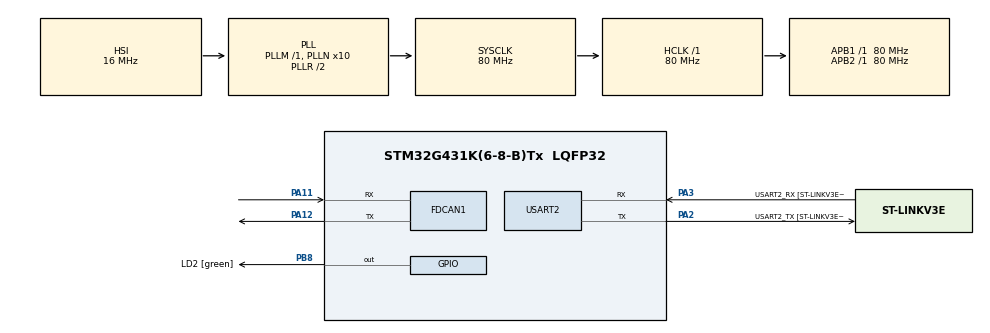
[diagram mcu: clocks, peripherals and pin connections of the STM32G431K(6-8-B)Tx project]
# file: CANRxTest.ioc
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FDCAN1.CalculateBaudRateNominal=1000000
FDCAN1.CalculateTimeBitNominal=1000
FDCAN1.CalculateTimeQuantumNominal=62.5
FDCAN1.DataPrescaler=1
FDCAN1.DataSyncJumpWidth=4
FDCAN1.DataTimeSeg1=5
FDCAN1.DataTimeSeg2=4
FDCAN1.NominalPrescaler=5
FDCAN1.NominalSyncJumpWidth=16
FDCAN1.NominalTimeSeg1=13
FDCAN1.StdFiltersNbr=1
Mcu.Family=STM32G4
Mcu.Name=STM32G431K(6-8-B)Tx
Mcu.Package=LQFP32
NVIC.FDCAN1_IT0_IRQn=true\:0\:0\:false\:false\:true\:true\:true\:true
NVIC.FDCAN1_IT1_IRQn=true\:0\:0\:false\:false\:true\:true\:true\:true
NVIC.PriorityGroup=NVIC_PRIORITYGROUP_4
PA11.Mode=FDCAN_Activate
PA11.Signal=FDCAN1_RX
PA12.Mode=FDCAN_Activate
PA12.Signal=FDCAN1_TX
PA13.GPIO_Label=T_SWDIO
PA13.Mode=Serial_Wire
PA13.Signal=SYS_JTMS-SWDIO
PA14.GPIO_Label=T_SWCLK
PA14.Mode=Serial_Wire
PA14.Signal=SYS_JTCK-SWCLK
PA2.GPIO_Label=USART2_TX [ST-LINKV3E_VCP_RX]
PA2.Mode=Asynchronous
PA2.Signal=USART2_TX
PA3.GPIO_Label=USART2_RX [ST-LINKV3E_VCP_TX]
PA3.Mode=Asynchronous
PA3.Signal=USART2_RX
PB3.GPIO_Label=T_SWO
PB3.Signal=SYS_JTDO-SWO
PB8-BOOT0.GPIO_Label=LD2 [green]
PB8-BOOT0.Signal=GPIO_Output
ProjectManager.HeapSize=0x200
ProjectManager.StackSize=0x400
ProjectManager.TargetToolchain=STM32CubeIDE
RCC.ADC12Freq_Value=80000000
RCC.AHBFreq_Value=80000000
RCC.APB1Freq_Value=80000000
RCC.APB1TimFreq_Value=80000000
RCC.APB2Freq_Value=80000000
RCC.APB2TimFreq_Value=80000000
RCC.CortexFreq_Value=80000000
RCC.EXTERNAL_CLOCK_VALUE=12288000
RCC.HCLKFreq_Value=80000000
RCC.HSE_VALUE=8000000
RCC.HSI48_VALUE=48000000
RCC.HSI_VALUE=16000000
RCC.LSE_VALUE=32768
RCC.PLLN=10
RCC.SYSCLKFreq_VALUE=80000000
RCC.SYSCLKSource=RCC_SYSCLKSOURCE_PLLCLK
RCC.USBFreq_Value=80000000
RCC.VCOOutputFreq_Value=160000000
USART2.VirtualMode-Asynchronous=VM_ASYNC
USART2.WordLength=WORDLENGTH_8B
board=NUCLEO-G431KB

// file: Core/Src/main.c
/* USER CODE BEGIN Header */
/**
  ******************************************************************************
  * @file           : main.c
  * @brief          : Main program body
  ******************************************************************************
  * @attention
  *
  * Copyright (c) 2023 STMicroelectronics.
  * All rights reserved.
  *
  * This software is licensed under terms that can be found in the LICENSE file
  * in the root directory of this software component.
  * If no LICENSE file comes with this software, it is provided AS-IS.
  *
  ******************************************************************************
  */
/* USER CODE END Header */
#include "main.h"

FDCAN_HandleTypeDef hfdcan1;

UART_HandleTypeDef huart2;

void SystemClock_Config(void);
static void MX_GPIO_Init(void);
static void MX_USART2_UART_Init(void);
static void MX_FDCAN1_Init(void);

int main(void)
{

  /* MCU Configuration--------------------------------------------------------*/

  /* Reset of all peripherals, Initializes the Flash interface and the Systick. */
  HAL_Init();

  /* Configure the system clock */
  SystemClock_Config();

  /* Initialize all configured peripherals */
  MX_GPIO_Init();
  MX_USART2_UART_Init();
  MX_FDCAN1_Init();
  /* USER CODE BEGIN 2 */
  FDCAN_TxHeaderTypeDef TxHeader;
  uint8_t TxData[8] = {0x3F,0x3F,0x3F,0x3F,0x3F,0x3F,0x3F,0x3F};

  TxHeader.IdType = FDCAN_STANDARD_ID;
  TxHeader.TxFrameType = FDCAN_DATA_FRAME;
  TxHeader.DataLength = FDCAN_DLC_BYTES_8;
  TxHeader.ErrorStateIndicator = FDCAN_ESI_ACTIVE;
  TxHeader.BitRateSwitch = FDCAN_BRS_OFF;
  TxHeader.FDFormat = FDCAN_CLASSIC_CAN;
  TxHeader.TxEventFifoControl = FDCAN_NO_TX_EVENTS;
  TxHeader.MessageMarker = 0;
  TxHeader.Identifier = 0x200;
  if (HAL_FDCAN_Start(&hfdcan1) != HAL_OK) {
	  Error_Handler();
  }
  /* USER CODE END 2 */

  /* Infinite loop */
  while (1)
  {

    /* USER CODE BEGIN 3 */
	  if (HAL_FDCAN_AddMessageToTxFifoQ(&hfdcan1, &TxHeader, TxData) != HAL_OK) {
	        /* Transmission request Error */
		Error_Handler();
	  }
	  HAL_Delay(100);
  }
  /* USER CODE END 3 */
}

void SystemClock_Config(void)
{
  RCC_OscInitTypeDef RCC_OscInitStruct = {0};
  RCC_ClkInitTypeDef RCC_ClkInitStruct = {0};

  /** Configure the main internal regulator output voltage
  */
  HAL_PWREx_ControlVoltageScaling(PWR_REGULATOR_VOLTAGE_SCALE1);

  /** Initializes the RCC Oscillators according to the specified parameters
  * in the RCC_OscInitTypeDef structure.
  */
  RCC_OscInitStruct.OscillatorType = RCC_OSCILLATORTYPE_HSI;
  RCC_OscInitStruct.HSIState = RCC_HSI_ON;
  RCC_OscInitStruct.HSICalibrationValue = RCC_HSICALIBRATION_DEFAULT;
  RCC_OscInitStruct.PLL.PLLState = RCC_PLL_ON;
  RCC_OscInitStruct.PLL.PLLSource = RCC_PLLSOURCE_HSI;
  RCC_OscInitStruct.PLL.PLLM = RCC_PLLM_DIV1;
  RCC_OscInitStruct.PLL.PLLN = 10;
  RCC_OscInitStruct.PLL.PLLP = RCC_PLLP_DIV2;
  RCC_OscInitStruct.PLL.PLLQ = RCC_PLLQ_DIV2;
  RCC_OscInitStruct.PLL.PLLR = RCC_PLLR_DIV2;
  if (HAL_RCC_OscConfig(&RCC_OscInitStruct) != HAL_OK)
  {
    Error_Handler();
  }

  /** Initializes the CPU, AHB and APB buses clocks
  */
  RCC_ClkInitStruct.ClockType = RCC_CLOCKTYPE_HCLK|RCC_CLOCKTYPE_SYSCLK
                              |RCC_CLOCKTYPE_PCLK1|RCC_CLOCKTYPE_PCLK2;
  RCC_ClkInitStruct.SYSCLKSource = RCC_SYSCLKSOURCE_PLLCLK;
  RCC_ClkInitStruct.AHBCLKDivider = RCC_SYSCLK_DIV1;
  RCC_ClkInitStruct.APB1CLKDivider = RCC_HCLK_DIV1;
  RCC_ClkInitStruct.APB2CLKDivider = RCC_HCLK_DIV1;

  if (HAL_RCC_ClockConfig(&RCC_ClkInitStruct, FLASH_LATENCY_2) != HAL_OK)
  {
    Error_Handler();
  }
}

static void MX_FDCAN1_Init(void)
{

  hfdcan1.Instance = FDCAN1;
  hfdcan1.Init.ClockDivider = FDCAN_CLOCK_DIV1;
  hfdcan1.Init.FrameFormat = FDCAN_FRAME_CLASSIC;
  hfdcan1.Init.Mode = FDCAN_MODE_NORMAL;
  hfdcan1.Init.AutoRetransmission = DISABLE;
  hfdcan1.Init.TransmitPause = DISABLE;
  hfdcan1.Init.ProtocolException = DISABLE;
  hfdcan1.Init.NominalPrescaler = 5;
  hfdcan1.Init.NominalSyncJumpWidth = 16;
  hfdcan1.Init.NominalTimeSeg1 = 13;
  hfdcan1.Init.NominalTimeSeg2 = 2;
  hfdcan1.Init.DataPrescaler = 1;
  hfdcan1.Init.DataSyncJumpWidth = 4;
  hfdcan1.Init.DataTimeSeg1 = 5;
  hfdcan1.Init.DataTimeSeg2 = 4;
  hfdcan1.Init.StdFiltersNbr = 1;
  hfdcan1.Init.ExtFiltersNbr = 0;
  hfdcan1.Init.TxFifoQueueMode = FDCAN_TX_FIFO_OPERATION;
  if (HAL_FDCAN_Init(&hfdcan1) != HAL_OK)
  {
    Error_Handler();
  }

}

static void MX_USART2_UART_Init(void)
{

  huart2.Instance = USART2;
  huart2.Init.BaudRate = 115200;
  huart2.Init.WordLength = UART_WORDLENGTH_8B;
  huart2.Init.StopBits = UART_STOPBITS_1;
  huart2.Init.Parity = UART_PARITY_NONE;
  huart2.Init.Mode = UART_MODE_TX_RX;
  huart2.Init.HwFlowCtl = UART_HWCONTROL_NONE;
  huart2.Init.OverSampling = UART_OVERSAMPLING_16;
  huart2.Init.OneBitSampling = UART_ONE_BIT_SAMPLE_DISABLE;
  huart2.Init.ClockPrescaler = UART_PRESCALER_DIV1;
  huart2.AdvancedInit.AdvFeatureInit = UART_ADVFEATURE_NO_INIT;
  if (HAL_UART_Init(&huart2) != HAL_OK)
  {
    Error_Handler();
  }
  if (HAL_UARTEx_SetTxFifoThreshold(&huart2, UART_TXFIFO_THRESHOLD_1_8) != HAL_OK)
  {
    Error_Handler();
  }
  if (HAL_UARTEx_SetRxFifoThreshold(&huart2, UART_RXFIFO_THRESHOLD_1_8) != HAL_OK)
  {
    Error_Handler();
  }
  if (HAL_UARTEx_DisableFifoMode(&huart2) != HAL_OK)
  {
    Error_Handler();
  }

}

static void MX_GPIO_Init(void)
{
  GPIO_InitTypeDef GPIO_InitStruct = {0};

  /* GPIO Ports Clock Enable */
  __HAL_RCC_GPIOA_CLK_ENABLE();
  __HAL_RCC_GPIOB_CLK_ENABLE();

  /*Configure GPIO pin Output Level */
  HAL_GPIO_WritePin(LD2_GPIO_Port, LD2_Pin, GPIO_PIN_RESET);

  /*Configure GPIO pin : LD2_Pin */
  GPIO_InitStruct.Pin = LD2_Pin;
  GPIO_InitStruct.Mode = GPIO_MODE_OUTPUT_PP;
  GPIO_InitStruct.Pull = GPIO_NOPULL;
  GPIO_InitStruct.Speed = GPIO_SPEED_FREQ_LOW;
  HAL_GPIO_Init(LD2_GPIO_Port, &GPIO_InitStruct);

}

void Error_Handler(void)
{
  __disable_irq();
  while (1)
  {
  }
}
